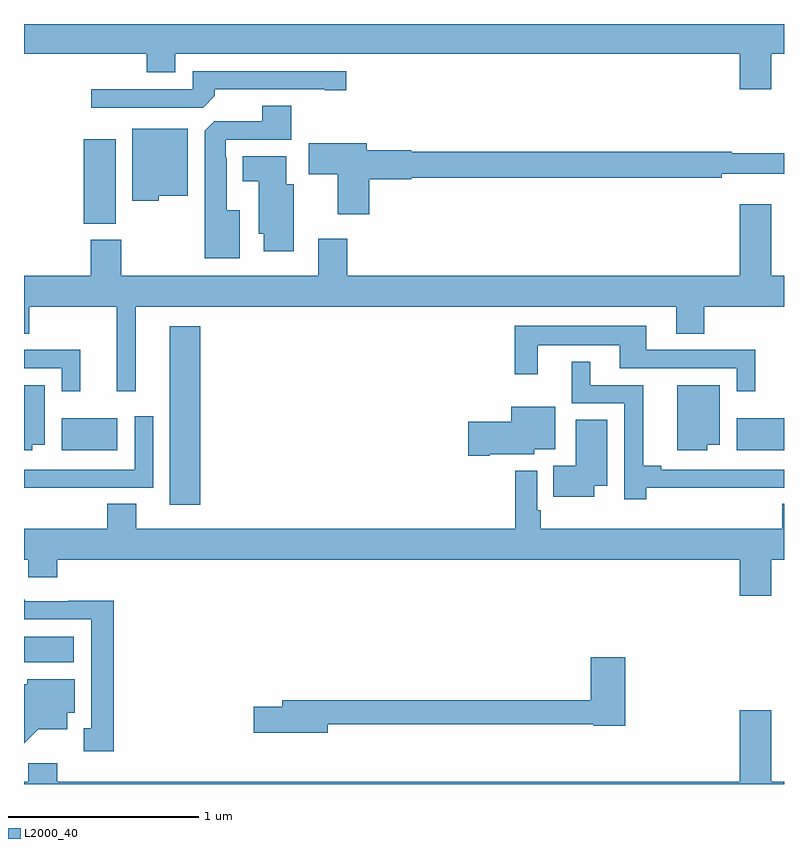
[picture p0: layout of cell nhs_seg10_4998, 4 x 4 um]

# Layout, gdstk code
import gdstk
lib = gdstk.Library(unit=1e-6, precision=1e-09)
def R(c, l, rs):  # rectangles x0, y0, x1, y1
    for r in rs: c.add(gdstk.rectangle(r[:2], r[2:], *l))
def P(c, l, *ps):  # polygons
    for p in ps: c.add(gdstk.Polygon(p, *l))
L2000_40 = (2000, 40)

nhs_seg10_4998 = lib.new_cell('nhs_seg10_4998')
R(nhs_seg10_4998, L2000_40, [(401,1269.14,401.263,1269.274), (401.768,1269.969,401.927,1270.909), (401.198,1270.256,401.491,1270.426), (404.75,1270.256,405,1270.426), (401.315,1271.449,401.482,1271.893)])
P(nhs_seg10_4998, L2000_40, [(401,1272.344),(401.645,1272.344),(401.645,1272.245),(401.797,1272.245),(401.797,1272.344),(404.768,1272.344),(404.768,1272.156),(404.932,1272.156),(404.932,1272.344),(405,1272.344),(405,1272.5),(401,1272.5)],
  [(402.005,1272.122),(402.005,1272.156),(402.584,1272.156),(402.584,1272.151),(402.697,1272.151),(402.697,1272.252),(401.889,1272.252),(401.889,1272.156),(401.355,1272.156),(401.355,1272.06),(401.943,1272.06)],
  [(402.136,1271.521),(402.067,1271.521),(402.067,1271.795),(402.063,1271.795),(402.063,1271.892),(402.407,1271.892),(402.407,1272.071),(402.254,1272.071),(402.254,1271.988),(402,1271.988),(401.951,1271.939),(401.951,1271.267),(402.136,1271.267)],
  [(401.709,1271.597),(401.863,1271.597),(401.863,1271.95),(401.57,1271.95),(401.57,1271.57),(401.709,1271.57)],
  [(402.818,1271.684),(403.038,1271.684),(403.038,1271.692),(404.672,1271.692),(404.672,1271.711),(405,1271.711),(405,1271.821),(404.726,1271.821),(404.726,1271.828),(403.038,1271.828),(403.038,1271.836),(402.805,1271.836),(402.805,1271.872),(402.498,1271.872),(402.498,1271.71),(402.65,1271.71),(402.65,1271.499),(402.818,1271.499)],
  [(402.421,1271.656),(402.379,1271.656),(402.379,1271.803),(402.152,1271.803),(402.152,1271.672),(402.236,1271.672),(402.236,1271.397),(402.263,1271.397),(402.263,1271.304),(402.421,1271.304)],
  [(401.588,1271.012),(404.432,1271.012),(404.432,1270.87),(404.58,1270.87),(404.58,1271.012),(405,1271.012),(405,1271.176),(404.932,1271.176),(404.932,1271.551),(404.768,1271.551),(404.768,1271.176),(402.701,1271.176),(402.701,1271.371),(402.548,1271.371),(402.548,1271.176),(401.511,1271.176),(401.511,1271.364),(401.351,1271.364),(401.351,1271.176),(401,1271.176),(401,1270.87),(401.028,1270.87),(401.028,1271.012),(401.489,1271.012),(401.489,1270.566),(401.588,1270.566)],
  [(404.849,1270.785),(404.275,1270.785),(404.275,1270.912),(403.584,1270.912),(403.584,1270.656),(403.705,1270.656),(403.705,1270.808),(404.135,1270.808),(404.135,1270.689),(404.751,1270.689),(404.751,1270.566),(404.849,1270.566)],
  [(401.297,1270.785),(401,1270.785),(401,1270.689),(401.199,1270.689),(401.199,1270.566),(401.297,1270.566)],
  [(404.276,1270.058),(404.906,1270.058),(404.906,1270.059),(405,1270.059),(405,1270.155),(404.353,1270.155),(404.353,1270.175),(404.258,1270.175),(404.258,1270.599),(403.981,1270.599),(403.981,1270.723),(403.883,1270.723),(403.883,1270.503),(404.16,1270.503),(404.16,1269.999),(404.276,1269.999)],
  [(401.044,1270.286),(401.11,1270.286),(401.11,1270.6),(401,1270.6),(401,1270.256),(401.044,1270.256)],
  [(404.596,1270.286),(404.662,1270.286),(404.662,1270.6),(404.438,1270.6),(404.438,1270.256),(404.596,1270.256)],
  [(403.45,1270.235),(403.686,1270.235),(403.686,1270.262),(403.795,1270.262),(403.795,1270.486),(403.565,1270.486),(403.565,1270.406),(403.338,1270.406),(403.338,1270.228),(403.45,1270.228)],
  [(401.354,1270.059),(401.679,1270.059),(401.679,1270.435),(401.583,1270.435),(401.583,1270.155),(401,1270.155),(401,1270.058),(401.354,1270.058)],
  [(404.002,1270.07),(404.071,1270.07),(404.071,1270.418),(403.904,1270.418),(403.904,1270.174),(403.786,1270.174),(403.786,1270.013),(404.002,1270.013)],
  [(404.932,1269.68),(405,1269.68),(405,1269.974),(404.99,1269.974),(404.99,1269.844),(403.721,1269.844),(403.721,1269.94),(403.701,1269.94),(403.701,1270.15),(403.585,1270.15),(403.585,1269.844),(401.59,1269.844),(401.59,1269.974),(401.438,1269.974),(401.438,1269.844),(401,1269.844),(401,1269.68),(401.022,1269.68),(401.022,1269.587),(401.174,1269.587),(401.174,1269.68),(404.768,1269.68),(404.768,1269.492),(404.932,1269.492)],
  [(401.473,1269.464),(401.232,1269.464),(401.232,1269.462),(401.01,1269.462),(401,1269.472),(401,1269.366),(401.354,1269.366),(401.354,1268.793),(401.315,1268.793),(401.315,1268.673),(401.473,1268.673)],
  [(402.598,1268.814),(403.998,1268.814),(403.998,1268.806),(404.165,1268.806),(404.165,1269.166),(403.982,1269.166),(403.982,1268.942),(402.359,1268.942),(402.359,1268.906),(402.21,1268.906),(402.21,1268.771),(402.598,1268.771)],
  [(401.075,1268.789),(401.227,1268.789),(401.227,1268.876),(401.266,1268.876),(401.266,1269.052),(401.016,1269.052),(401.016,1269.025),(401,1269.025),(401,1268.715)],
  [(405,1268.512),(404.932,1268.512),(404.932,1268.887),(404.768,1268.887),(404.768,1268.512),(401.174,1268.512),(401.174,1268.608),(401.022,1268.608),(401.022,1268.512),(401,1268.512),(401,1268.5),(405,1268.5)])

lib.write_gds('nhs_seg10_4998.gds')
